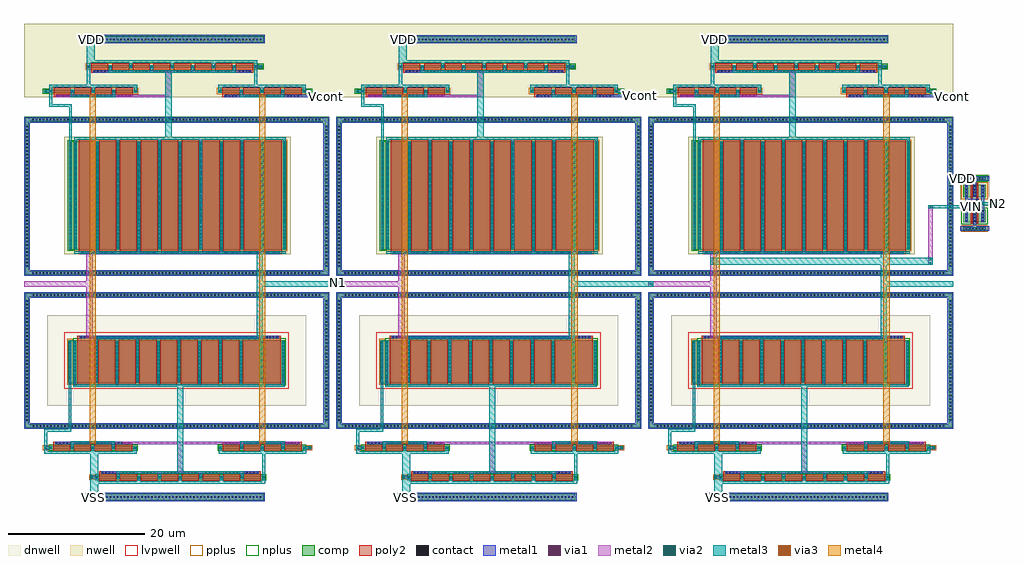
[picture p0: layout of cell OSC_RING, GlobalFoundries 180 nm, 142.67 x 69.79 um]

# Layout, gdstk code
from math import pi, radians
import gdstk
lib = gdstk.Library(unit=1e-6, precision=5e-09)
def R(c, l, rs):  # rectangles x0, y0, x1, y1
    for r in rs: c.add(gdstk.rectangle(r[:2], r[2:], *l))
def A(c, l, x, y, w, h, nx, ny, dx, dy):  # array of equal rectangles
    R(c, l, [(x+i*dx, y+j*dy, x+i*dx+w, y+j*dy+h) for i in range(nx) for j in range(ny)])
def P(c, l, *ps):  # polygons
    for p in ps: c.add(gdstk.Polygon(p, *l))
dnwell = (12, 0)
nwell = (21, 0)
comp = (22, 0)
poly2 = (30, 0)
pplus = (31, 0)
nplus = (32, 0)
contact = (33, 0)
metal1 = (34, 0)
via1 = (35, 0)
metal2 = (36, 0)
via2 = (38, 0)
via3 = (40, 0)
metal3 = (42, 0)
metal4 = (46, 0)
lvpwell = (204, 0)

nfet_2 = lib.new_cell('nfet$2')
R(nfet_2, comp, [(-0.42,-0.01,0,0.43), (11.94,-0.01,12.36,0.43), (12.36,-0.01,13.07,0.43), (0,0,11.94,0.42)])
A(nfet_2, poly2, 0.19, -0.3, 2.5, 1.02, 4, 1, 3.02, 0)
A(nfet_2, poly2, 0.19, 0.72, 2.5, 0.36, 4, 1, 3.02, 0)
R(nfet_2, pplus, [(12.36,-0.17,13.24,0.59)])
R(nfet_2, nplus, [(-0.59,-0.25,12.36,0.67)])
A(nfet_2, contact, 2.84, 0.1, 0.22, 0.22, 3, 1, 3.02, 0)
A(nfet_2, contact, 0.565, 0.79, 0.22, 0.22, 4, 1, 0.51, 0)
A(nfet_2, contact, 3.585, 0.79, 0.22, 0.22, 4, 1, 0.51, 0)
A(nfet_2, contact, 6.605, 0.79, 0.22, 0.22, 4, 1, 0.51, 0)
A(nfet_2, contact, 9.625, 0.79, 0.22, 0.22, 4, 1, 0.51, 0)
R(nfet_2, contact, [(-0.32,0.1,-0.1,0.32), (12.04,0.1,12.26,0.32), (12.75,0.1,12.97,0.32)])
A(nfet_2, metal1, 2.76, 0.02, 0.38, 0.38, 3, 1, 3.02, 0)
A(nfet_2, metal1, 0.485, 0.71, 1.91, 0.38, 4, 1, 3.02, 0)
R(nfet_2, metal1, [(-0.4,0.02,-0.02,0.4), (11.96,0.02,12.34,0.4), (12.67,0.02,13.05,0.4)])

pfet_6 = lib.new_cell('pfet$6')
R(pfet_6, nwell, [(-1.16,-0.71,13.83,1.13)])
R(pfet_6, comp, [(-0.46,-0.01,0,0.43), (11.94,-0.01,12.4,0.43), (12.4,-0.01,13.13,0.43), (0,0,11.94,0.42)])
A(pfet_6, poly2, 0.19, -0.3, 2.5, 1.02, 4, 1, 3.02, 0)
A(pfet_6, poly2, 0.19, 0.72, 2.5, 0.38, 4, 1, 3.02, 0)
R(pfet_6, pplus, [(-0.63,-0.25,12.4,0.67)])
R(pfet_6, nplus, [(12.4,-0.17,13.3,0.59)])
A(pfet_6, contact, 2.84, 0.1, 0.22, 0.22, 3, 1, 3.02, 0)
A(pfet_6, contact, 0.565, 0.8, 0.22, 0.22, 4, 1, 0.51, 0)
A(pfet_6, contact, 3.585, 0.8, 0.22, 0.22, 4, 1, 0.51, 0)
A(pfet_6, contact, 6.605, 0.8, 0.22, 0.22, 4, 1, 0.51, 0)
A(pfet_6, contact, 9.625, 0.8, 0.22, 0.22, 4, 1, 0.51, 0)
R(pfet_6, contact, [(-0.34,0.1,-0.12,0.32), (12.06,0.1,12.28,0.32), (12.79,0.1,13.01,0.32)])
A(pfet_6, metal1, 2.76, 0.02, 0.38, 0.38, 3, 1, 3.02, 0)
A(pfet_6, metal1, 0.485, 0.72, 1.91, 0.38, 4, 1, 3.02, 0)
R(pfet_6, metal1, [(-0.42,0.02,-0.04,0.4), (11.98,0.02,12.36,0.4), (12.71,0.02,13.09,0.4)])

pfet_7 = lib.new_cell('pfet$7')
R(pfet_7, nwell, [(-1.16,-0.71,13.83,1.13)])
R(pfet_7, comp, [(-0.46,-0.01,0,0.43), (11.94,-0.01,12.4,0.43), (12.4,-0.01,13.13,0.43), (0,0,11.94,0.42)])
A(pfet_7, poly2, 0.19, -0.3, 2.5, 1.02, 4, 1, 3.02, 0)
A(pfet_7, poly2, 0.19, 0.72, 2.5, 0.38, 4, 1, 3.02, 0)
R(pfet_7, pplus, [(-0.63,-0.25,12.4,0.67)])
R(pfet_7, nplus, [(12.4,-0.17,13.3,0.59)])
A(pfet_7, contact, 2.84, 0.1, 0.22, 0.22, 3, 1, 3.02, 0)
A(pfet_7, contact, 0.565, 0.8, 0.22, 0.22, 4, 1, 0.51, 0)
A(pfet_7, contact, 3.585, 0.8, 0.22, 0.22, 4, 1, 0.51, 0)
A(pfet_7, contact, 6.605, 0.8, 0.22, 0.22, 4, 1, 0.51, 0)
A(pfet_7, contact, 9.625, 0.8, 0.22, 0.22, 4, 1, 0.51, 0)
R(pfet_7, contact, [(-0.34,0.1,-0.12,0.32), (12.06,0.1,12.28,0.32), (12.79,0.1,13.01,0.32)])
A(pfet_7, metal1, 2.76, 0.02, 0.38, 0.38, 3, 1, 3.02, 0)
A(pfet_7, metal1, 0.485, 0.72, 1.91, 0.38, 4, 1, 3.02, 0)
R(pfet_7, metal1, [(-0.42,0.02,-0.04,0.4), (11.98,0.02,12.36,0.4), (12.71,0.02,13.09,0.4)])

pfet = lib.new_cell('pfet')
R(pfet, nwell, [(-1.16,-0.71,25.91,1.13)])
R(pfet, comp, [(-0.46,-0.01,0,0.43), (24.02,-0.01,24.48,0.43), (24.48,-0.01,25.21,0.43), (0,0,24.02,0.42)])
A(pfet, poly2, 0.19, -0.3, 2.5, 1.02, 8, 1, 3.02, 0)
A(pfet, poly2, 0.19, 0.72, 2.5, 0.38, 8, 1, 3.02, 0)
R(pfet, pplus, [(-0.63,-0.25,24.48,0.67)])
R(pfet, nplus, [(24.48,-0.17,25.38,0.59)])
A(pfet, contact, 2.84, 0.1, 0.22, 0.22, 7, 1, 3.02, 0)
A(pfet, contact, 0.565, 0.8, 0.22, 0.22, 4, 1, 0.51, 0)
A(pfet, contact, 3.585, 0.8, 0.22, 0.22, 4, 1, 0.51, 0)
A(pfet, contact, 6.605, 0.8, 0.22, 0.22, 4, 1, 0.51, 0)
A(pfet, contact, 9.625, 0.8, 0.22, 0.22, 4, 1, 0.51, 0)
A(pfet, contact, 12.645, 0.8, 0.22, 0.22, 4, 1, 0.51, 0)
A(pfet, contact, 15.665, 0.8, 0.22, 0.22, 4, 1, 0.51, 0)
A(pfet, contact, 18.685, 0.8, 0.22, 0.22, 4, 1, 0.51, 0)
A(pfet, contact, 21.705, 0.8, 0.22, 0.22, 4, 1, 0.51, 0)
R(pfet, contact, [(-0.34,0.1,-0.12,0.32), (24.14,0.1,24.36,0.32), (24.87,0.1,25.09,0.32)])
A(pfet, metal1, 2.76, 0.02, 0.38, 0.38, 7, 1, 3.02, 0)
A(pfet, metal1, 0.485, 0.72, 1.91, 0.38, 8, 1, 3.02, 0)
R(pfet, metal1, [(-0.42,0.02,-0.04,0.4), (24.06,0.02,24.44,0.4), (24.79,0.02,25.17,0.4)])

nfet_1 = lib.new_cell('nfet$1')
R(nfet_1, comp, [(-0.42,-0.01,0,0.43), (24.02,-0.01,24.44,0.43), (24.44,-0.01,25.15,0.43), (0,0,24.02,0.42)])
A(nfet_1, poly2, 0.19, -0.3, 2.5, 1.02, 8, 1, 3.02, 0)
A(nfet_1, poly2, 0.19, 0.72, 2.5, 0.36, 8, 1, 3.02, 0)
R(nfet_1, pplus, [(24.44,-0.17,25.32,0.59)])
R(nfet_1, nplus, [(-0.59,-0.25,24.44,0.67)])
A(nfet_1, contact, 2.84, 0.1, 0.22, 0.22, 7, 1, 3.02, 0)
A(nfet_1, contact, 0.565, 0.79, 0.22, 0.22, 4, 1, 0.51, 0)
A(nfet_1, contact, 3.585, 0.79, 0.22, 0.22, 4, 1, 0.51, 0)
A(nfet_1, contact, 6.605, 0.79, 0.22, 0.22, 4, 1, 0.51, 0)
A(nfet_1, contact, 9.625, 0.79, 0.22, 0.22, 4, 1, 0.51, 0)
A(nfet_1, contact, 12.645, 0.79, 0.22, 0.22, 4, 1, 0.51, 0)
A(nfet_1, contact, 15.665, 0.79, 0.22, 0.22, 4, 1, 0.51, 0)
A(nfet_1, contact, 18.685, 0.79, 0.22, 0.22, 4, 1, 0.51, 0)
A(nfet_1, contact, 21.705, 0.79, 0.22, 0.22, 4, 1, 0.51, 0)
R(nfet_1, contact, [(-0.32,0.1,-0.1,0.32), (24.12,0.1,24.34,0.32), (24.83,0.1,25.05,0.32)])
A(nfet_1, metal1, 2.76, 0.02, 0.38, 0.38, 7, 1, 3.02, 0)
A(nfet_1, metal1, 0.485, 0.71, 1.91, 0.38, 8, 1, 3.02, 0)
R(nfet_1, metal1, [(-0.4,0.02,-0.02,0.4), (24.04,0.02,24.42,0.4), (24.75,0.02,25.13,0.4)])

nfet_10 = lib.new_cell('nfet$10')
R(nfet_10, dnwell, [(-3.55,-3.26,34.32,9.96)])
R(nfet_10, comp, [(-0.42,0,0,6.33), (0,0,30.06,6.33), (30.06,0,30.48,6.33), (30.48,0,31.19,6.33)])
P(nfet_10, comp, [(-6.75,-6.46),(-6.75,12.66),(-6.25,12.66),(-6.25,-5.96),(37.02,-5.96),(37.02,12.66),(-6.75,12.66),(-6.75,13.16),(37.52,13.16),(37.52,-6.46)])
A(nfet_10, poly2, 0.19, -0.3, 2.5, 6.93, 10, 1, 3.02, 0)
A(nfet_10, poly2, 0.19, 6.63, 2.5, 0.36, 10, 1, 3.02, 0)
R(nfet_10, pplus, [(30.48,-0.17,31.36,6.5)])
P(nfet_10, pplus, [(-6.92,-6.63),(-6.92,12.49),(-6.08,12.49),(-6.08,-5.79),(36.85,-5.79),(36.85,12.49),(-6.92,12.49),(-6.92,13.33),(37.69,13.33),(37.69,-6.63)])
R(nfet_10, nplus, [(-0.59,-0.24,30.48,6.57)])
A(nfet_10, contact, -5.635, -6.32, 0.22, 0.22, 83, 2, 0.51, 19.12)
A(nfet_10, contact, -6.61, -5.43, 0.22, 0.22, 1, 35, 0, 0.51)
A(nfet_10, contact, 37.16, -5.43, 0.22, 0.22, 1, 35, 0, 0.51)
A(nfet_10, contact, -0.32, 0.25, 0.22, 0.22, 1, 12, 0, 0.51)
A(nfet_10, contact, 2.84, 0.25, 0.22, 0.22, 9, 12, 3.02, 0.51)
A(nfet_10, contact, 30.16, 0.25, 0.22, 0.22, 1, 12, 0, 0.51)
A(nfet_10, contact, 30.87, 0.25, 0.22, 0.22, 1, 12, 0, 0.51)
A(nfet_10, contact, 0.565, 6.7, 0.22, 0.22, 4, 1, 0.51, 0)
A(nfet_10, contact, 3.585, 6.7, 0.22, 0.22, 4, 1, 0.51, 0)
A(nfet_10, contact, 6.605, 6.7, 0.22, 0.22, 4, 1, 0.51, 0)
A(nfet_10, contact, 9.625, 6.7, 0.22, 0.22, 4, 1, 0.51, 0)
A(nfet_10, contact, 12.645, 6.7, 0.22, 0.22, 4, 1, 0.51, 0)
A(nfet_10, contact, 15.665, 6.7, 0.22, 0.22, 4, 1, 0.51, 0)
A(nfet_10, contact, 18.685, 6.7, 0.22, 0.22, 4, 1, 0.51, 0)
A(nfet_10, contact, 21.705, 6.7, 0.22, 0.22, 4, 1, 0.51, 0)
A(nfet_10, contact, 24.725, 6.7, 0.22, 0.22, 4, 1, 0.51, 0)
A(nfet_10, contact, 27.745, 6.7, 0.22, 0.22, 4, 1, 0.51, 0)
A(nfet_10, metal1, 2.76, 0.17, 0.38, 5.99, 9, 1, 3.02, 0)
A(nfet_10, metal1, 0.485, 6.62, 1.91, 0.38, 10, 1, 3.02, 0)
R(nfet_10, metal1, [(-0.4,0.17,-0.02,6.16), (30.08,0.17,30.46,6.16), (30.79,0.17,31.17,6.16)])
R(nfet_10, lvpwell, [(-1.04,-0.75,31.81,7.45)])

nfet = lib.new_cell('nfet')
R(nfet, comp, [(-0.42,-0.01,0,0.43), (11.94,-0.01,12.36,0.43), (12.36,-0.01,13.07,0.43), (0,0,11.94,0.42)])
A(nfet, poly2, 0.19, -0.3, 2.5, 1.02, 4, 1, 3.02, 0)
A(nfet, poly2, 0.19, 0.72, 2.5, 0.36, 4, 1, 3.02, 0)
R(nfet, pplus, [(12.36,-0.17,13.24,0.59)])
R(nfet, nplus, [(-0.59,-0.25,12.36,0.67)])
A(nfet, contact, 2.84, 0.1, 0.22, 0.22, 3, 1, 3.02, 0)
A(nfet, contact, 0.565, 0.79, 0.22, 0.22, 4, 1, 0.51, 0)
A(nfet, contact, 3.585, 0.79, 0.22, 0.22, 4, 1, 0.51, 0)
A(nfet, contact, 6.605, 0.79, 0.22, 0.22, 4, 1, 0.51, 0)
A(nfet, contact, 9.625, 0.79, 0.22, 0.22, 4, 1, 0.51, 0)
R(nfet, contact, [(-0.32,0.1,-0.1,0.32), (12.04,0.1,12.26,0.32), (12.75,0.1,12.97,0.32)])
A(nfet, metal1, 2.76, 0.02, 0.38, 0.38, 3, 1, 3.02, 0)
A(nfet, metal1, 0.485, 0.71, 1.91, 0.38, 4, 1, 3.02, 0)
R(nfet, metal1, [(-0.4,0.02,-0.02,0.4), (11.96,0.02,12.34,0.4), (12.67,0.02,13.05,0.4)])

pfet_4 = lib.new_cell('pfet$4')
R(pfet_4, nwell, [(-1.15,-0.69,31.94,16.515)])
R(pfet_4, comp, [(-0.46,0,0,15.825), (0,0,30.06,15.825), (30.06,0,30.52,15.825), (30.52,0,31.25,15.825)])
A(pfet_4, poly2, 0.19, -0.68, 2.5, 0.38, 10, 1, 3.02, 0)
A(pfet_4, poly2, 0.19, -0.3, 2.5, 16.425, 10, 1, 3.02, 0)
R(pfet_4, pplus, [(-0.63,-0.24,30.52,16.065)])
R(pfet_4, nplus, [(30.52,-0.17,31.42,15.995)])
A(pfet_4, contact, 0.565, -0.6, 0.22, 0.22, 4, 1, 0.51, 0)
A(pfet_4, contact, 3.585, -0.6, 0.22, 0.22, 4, 1, 0.51, 0)
A(pfet_4, contact, 6.605, -0.6, 0.22, 0.22, 4, 1, 0.51, 0)
A(pfet_4, contact, 9.625, -0.6, 0.22, 0.22, 4, 1, 0.51, 0)
A(pfet_4, contact, 12.645, -0.6, 0.22, 0.22, 4, 1, 0.51, 0)
A(pfet_4, contact, 15.665, -0.6, 0.22, 0.22, 4, 1, 0.51, 0)
A(pfet_4, contact, 18.685, -0.6, 0.22, 0.22, 4, 1, 0.51, 0)
A(pfet_4, contact, 21.705, -0.6, 0.22, 0.22, 4, 1, 0.51, 0)
A(pfet_4, contact, 24.725, -0.6, 0.22, 0.22, 4, 1, 0.51, 0)
A(pfet_4, contact, 27.745, -0.6, 0.22, 0.22, 4, 1, 0.51, 0)
A(pfet_4, contact, -0.34, 0.155, 0.22, 0.22, 1, 31, 0, 0.51)
A(pfet_4, contact, 2.84, 0.155, 0.22, 0.22, 9, 31, 3.02, 0.51)
A(pfet_4, contact, 30.18, 0.155, 0.22, 0.22, 1, 31, 0, 0.51)
A(pfet_4, contact, 30.91, 0.155, 0.22, 0.22, 1, 31, 0, 0.51)
A(pfet_4, metal1, 0.485, -0.68, 1.91, 0.38, 10, 1, 3.02, 0)
A(pfet_4, metal1, 2.76, 0.075, 0.38, 15.68, 9, 1, 3.02, 0)
R(pfet_4, metal1, [(-0.42,0.075,-0.04,15.755), (30.1,0.075,30.48,15.755), (30.83,0.075,31.21,15.755)])

osc_inv = lib.new_cell('OSC_INV')
R(osc_inv, nwell, [(0,-306.74,44.61,-295.98)])
R(osc_inv, comp, [(0.17,-332.67,43.93,-332.17), (43.93,-332.67,44.43,-310.23), (0.17,-332.17,0.67,-310.23), (0.17,-310.23,44.43,-309.73)])
R(osc_inv, nplus, [(0,-332.83,43.77,-331.99), (43.77,-332.83,44.61,-310.41), (0,-331.99,0.84,-310.41), (0,-310.41,44.61,-309.57)])
A(osc_inv, contact, 1.33, -332.53, 0.22, 0.22, 83, 2, 0.51, 22.44)
A(osc_inv, contact, 0.31, -331.51, 0.22, 0.22, 1, 41, 0, 0.51)
A(osc_inv, contact, 44.07, -331.51, 0.22, 0.22, 1, 41, 0, 0.51)
R(osc_inv, metal1, [(12.175,-361.78,32.925,-361.4), (5.465,-357.44,14.765,-357.06), (29.53,-357.44,38.675,-357.06), (0,-355.18,43.77,-354.34), (43.77,-355.18,44.61,-336.06), (0,-354.34,0.84,-336.06), (9.315,-341.93,34.75,-341.55), (0,-336.06,44.61,-335.22), (0,-332.83,43.77,-331.99), (43.77,-332.83,44.61,-310.46), (0,-331.99,0.84,-310.46), (9.165,-329.67,35.66,-329.29), (0,-310.46,44.61,-309.62), (0,-306.71,4.335,-306.33), (6.245,-306.71,14.06,-306.33), (29.56,-306.71,38.085,-306.33), (13.33,-303.12,33.65,-302.74)])
A(osc_inv, via1, 12.6, -362.41, 0.26, 0.26, 7, 1, 3.02, 0)
A(osc_inv, via1, 6.61, -358.07, 0.26, 0.26, 3, 1, 3.02, 0)
A(osc_inv, via1, 31.42, -358.07, 0.26, 0.26, 3, 1, 3.02, 0)
A(osc_inv, via1, 6.58, -347.92, 0.26, 0.26, 1, 11, 0, 0.52)
A(osc_inv, via1, 9.74, -347.92, 0.26, 0.26, 9, 11, 3.02, 0.52)
A(osc_inv, via1, 37.06, -347.92, 0.26, 0.26, 1, 11, 0, 0.52)
A(osc_inv, via1, 37.77, -347.92, 0.26, 0.26, 1, 11, 0, 0.52)
A(osc_inv, via1, 6.41, -328.85, 0.26, 0.26, 1, 30, 0, 0.52)
A(osc_inv, via1, 9.59, -328.85, 0.26, 0.26, 9, 30, 3.02, 0.52)
A(osc_inv, via1, 36.93, -328.85, 0.26, 0.26, 1, 30, 0, 0.52)
A(osc_inv, via1, 37.66, -328.85, 0.26, 0.26, 1, 30, 0, 0.52)
A(osc_inv, via1, 6.67, -305.95, 0.26, 0.26, 3, 1, 3.02, 0)
A(osc_inv, via1, 31.36, -305.95, 0.26, 0.26, 3, 1, 3.02, 0)
A(osc_inv, via1, 13.755, -302.36, 0.26, 0.26, 7, 1, 3.02, 0)
R(osc_inv, via1, [(9.44,-362.41,9.7,-362.15), (33.88,-362.41,34.14,-362.15), (34.59,-362.41,34.85,-362.15), (21.395,-361.72,21.655,-361.46), (21.915,-361.72,22.175,-361.46), (2.74,-358.07,3,-357.81), (3.45,-358.07,3.71,-357.81), (15.81,-358.07,16.07,-357.81), (28.26,-358.07,28.52,-357.81), (40.62,-358.07,40.88,-357.81), (41.33,-358.07,41.59,-357.81), (5.035,-357.38,5.295,-357.12), (5.555,-357.38,5.815,-357.12), (5.555,-357.38,5.815,-357.12), (5.555,-357.38,5.815,-357.12), (6.075,-357.38,6.335,-357.12), (6.075,-357.38,6.335,-357.12), (6.075,-357.38,6.335,-357.12), (6.595,-357.38,6.855,-357.12), (6.595,-357.38,6.855,-357.12), (6.595,-357.38,6.855,-357.12), (7.115,-357.38,7.375,-357.12), (7.115,-357.38,7.375,-357.12), (7.115,-357.38,7.375,-357.12), (7.635,-357.38,7.895,-357.12), (7.635,-357.38,7.895,-357.12), (7.635,-357.38,7.895,-357.12), (8.155,-357.38,8.415,-357.12), (8.155,-357.38,8.415,-357.12), (8.155,-357.38,8.415,-357.12), (8.675,-357.38,8.935,-357.12), (8.675,-357.38,8.935,-357.12), (8.675,-357.38,8.935,-357.12), (9.195,-357.38,9.455,-357.12), (9.195,-357.38,9.455,-357.12), (9.195,-357.38,9.455,-357.12), (9.715,-357.38,9.975,-357.12), (9.715,-357.38,9.975,-357.12), (9.715,-357.38,9.975,-357.12), (10.235,-357.38,10.495,-357.12), (10.235,-357.38,10.495,-357.12), (10.755,-357.38,11.015,-357.12), (10.755,-357.38,11.015,-357.12), (11.275,-357.38,11.535,-357.12), (11.275,-357.38,11.535,-357.12), (11.795,-357.38,12.055,-357.12), (11.795,-357.38,12.055,-357.12), (12.315,-357.38,12.575,-357.12), (12.315,-357.38,12.575,-357.12), (12.835,-357.38,13.095,-357.12), (12.835,-357.38,13.095,-357.12), (13.355,-357.38,13.615,-357.12), (13.355,-357.38,13.615,-357.12), (13.875,-357.38,14.135,-357.12), (13.875,-357.38,14.135,-357.12), (14.395,-357.38,14.655,-357.12), (14.395,-357.38,14.655,-357.12), (14.915,-357.38,15.175,-357.12), (29.155,-357.38,29.415,-357.12), (29.675,-357.38,29.935,-357.12), (37.76,-354.91,38.02,-354.65), (34.64,-341.87,34.9,-341.61), (35.16,-341.87,35.42,-341.61), (34.64,-329.61,34.9,-329.35), (35.16,-329.61,35.42,-329.35), (37.66,-310.13,37.92,-309.87), (29.075,-306.65,29.335,-306.39), (29.595,-306.65,29.855,-306.39), (29.595,-306.65,29.855,-306.39), (30.115,-306.65,30.375,-306.39), (30.115,-306.65,30.375,-306.39), (30.635,-306.65,30.895,-306.39), (30.635,-306.65,30.895,-306.39), (31.155,-306.65,31.415,-306.39), (31.155,-306.65,31.415,-306.39), (31.675,-306.65,31.935,-306.39), (31.675,-306.65,31.935,-306.39), (32.195,-306.65,32.455,-306.39), (32.195,-306.65,32.455,-306.39), (32.715,-306.65,32.975,-306.39), (32.715,-306.65,32.975,-306.39), (33.235,-306.65,33.495,-306.39), (33.235,-306.65,33.495,-306.39), (33.755,-306.65,34.015,-306.39), (33.755,-306.65,34.015,-306.39), (34.275,-306.65,34.535,-306.39), (34.275,-306.65,34.535,-306.39), (34.795,-306.65,35.055,-306.39), (34.795,-306.65,35.055,-306.39), (35.315,-306.65,35.575,-306.39), (35.315,-306.65,35.575,-306.39), (35.835,-306.65,36.095,-306.39), (35.835,-306.65,36.095,-306.39), (36.355,-306.65,36.615,-306.39), (36.355,-306.65,36.615,-306.39), (36.875,-306.65,37.135,-306.39), (36.875,-306.65,37.135,-306.39), (37.395,-306.65,37.655,-306.39), (37.395,-306.65,37.655,-306.39), (37.915,-306.65,38.175,-306.39), (37.915,-306.65,38.175,-306.39), (38.435,-306.65,38.695,-306.39), (38.435,-306.65,38.695,-306.39), (38.955,-306.65,39.215,-306.39), (38.955,-306.65,39.215,-306.39), (39.475,-306.65,39.735,-306.39), (2.76,-305.95,3.02,-305.69), (3.49,-305.95,3.75,-305.69), (15.89,-305.95,16.15,-305.69), (28.18,-305.95,28.44,-305.69), (40.58,-305.95,40.84,-305.69), (41.31,-305.95,41.57,-305.69), (23.105,-303.06,23.365,-302.8), (23.625,-303.06,23.885,-302.8), (9.845,-302.36,10.105,-302.1), (10.575,-302.36,10.835,-302.1), (35.055,-302.36,35.315,-302.1)])
A(osc_inv, metal2, 12.5, -362.505, 0.45, 0.45, 3, 1, 3.02, 0)
A(osc_inv, metal2, 24.58, -362.505, 0.45, 0.45, 3, 1, 3.02, 0)
A(osc_inv, metal2, 6.52, -358.165, 0.45, 0.415, 3, 1, 3.02, 0)
A(osc_inv, metal2, 31.32, -358.165, 0.45, 0.45, 3, 1, 3.02, 0)
A(osc_inv, metal2, 12.7, -348.69, 0.38, 6.3, 4, 1, 6.04, 0)
A(osc_inv, metal2, 9.68, -348.38, 0.38, 6.3, 5, 1, 6.04, 0)
A(osc_inv, metal2, 9.53, -329.225, 0.38, 15.99, 5, 1, 6.04, 0)
A(osc_inv, metal2, 12.55, -328.915, 0.38, 15.995, 4, 1, 6.04, 0)
A(osc_inv, metal2, 6.58, -306.045, 0.45, 0.45, 3, 1, 3.02, 0)
A(osc_inv, metal2, 31.26, -306.045, 0.45, 0.45, 3, 1, 3.02, 0)
A(osc_inv, metal2, 13.665, -302.455, 0.45, 0.45, 7, 1, 3.02, 0)
R(osc_inv, metal2, [(9.34,-362.505,9.79,-362.055), (21.56,-362.505,22.01,-362.09), (33.78,-362.505,34.23,-362.055), (34.23,-362.505,34.94,-362.055), (21.335,-361.78,22.235,-357.06), (2.65,-358.165,3.36,-357.715), (3.36,-358.165,3.81,-357.715), (15.72,-358.165,16.17,-357.75), (28.16,-358.165,28.61,-357.75), (40.52,-358.165,41.23,-357.715), (41.23,-358.165,41.68,-357.715), (4.27,-357.44,21.335,-357.06), (22.235,-357.44,30.205,-357.06), (37.69,-355.18,38.09,-354.34), (6.52,-348.69,6.9,-342.39), (37,-348.69,37.38,-342.39), (37.71,-348.69,38.09,-342.39), (34.58,-341.93,35.48,-329.29), (35.48,-334.39,40.84,-333.63), (40.84,-334.39,43.85,-333.63), (43.85,-334.39,44.61,-333.63), (6.35,-328.92,6.73,-312.92), (37.6,-328.915,37.98,-313.235), (36.87,-328.91,37.25,-312.92), (37.6,-310.46,37.98,-309.62), (23.045,-306.71,23.945,-302.74), (23.945,-306.71,39.995,-306.33), (2.67,-306.045,3.4,-305.595), (3.4,-306.045,3.85,-305.595), (15.8,-306.045,16.25,-305.595), (28.08,-306.045,28.53,-305.595), (40.48,-306.045,40.93,-305.595), (40.93,-306.045,41.66,-305.595), (9.755,-302.455,10.205,-302.005), (10.485,-302.455,10.935,-302.005), (34.965,-302.455,35.415,-302.005)])
A(osc_inv, via2, 12.6, -362.41, 0.26, 0.26, 7, 1, 3.02, 0)
A(osc_inv, via2, 6.61, -358.07, 0.26, 0.26, 3, 1, 3.02, 0)
A(osc_inv, via2, 31.42, -358.07, 0.26, 0.26, 3, 1, 3.02, 0)
A(osc_inv, via2, 6.58, -347.92, 0.26, 0.26, 1, 11, 0, 0.52)
A(osc_inv, via2, 9.74, -347.92, 0.26, 0.26, 9, 11, 3.02, 0.52)
A(osc_inv, via2, 37.06, -347.92, 0.26, 0.26, 1, 11, 0, 0.52)
A(osc_inv, via2, 37.77, -347.92, 0.26, 0.26, 1, 11, 0, 0.52)
A(osc_inv, via2, 6.41, -328.85, 0.26, 0.26, 1, 30, 0, 0.52)
A(osc_inv, via2, 9.59, -328.85, 0.26, 0.26, 9, 30, 3.02, 0.52)
A(osc_inv, via2, 36.93, -328.85, 0.26, 0.26, 1, 30, 0, 0.52)
A(osc_inv, via2, 37.66, -328.85, 0.26, 0.26, 1, 30, 0, 0.52)
A(osc_inv, via2, 6.67, -305.95, 0.26, 0.26, 3, 1, 3.02, 0)
A(osc_inv, via2, 31.36, -305.95, 0.26, 0.26, 3, 1, 3.02, 0)
A(osc_inv, via2, 13.75, -302.36, 0.26, 0.26, 7, 1, 3.02, 0)
R(osc_inv, via2, [(9.44,-362.41,9.7,-362.15), (33.88,-362.41,34.14,-362.15), (34.59,-362.41,34.85,-362.15), (2.74,-358.07,3,-357.81), (3.45,-358.07,3.71,-357.81), (15.81,-358.07,16.07,-357.81), (28.26,-358.07,28.52,-357.81), (40.62,-358.07,40.88,-357.81), (41.33,-358.07,41.59,-357.81), (9.37,-357.38,9.63,-357.12), (9.89,-357.38,10.15,-357.12), (37.76,-354.91,38.02,-354.65), (6.41,-328.85,6.67,-328.59), (37.66,-310.13,37.92,-309.87), (34.175,-306.675,34.435,-306.415), (34.695,-306.675,34.955,-306.415), (2.76,-305.95,3.02,-305.69), (3.49,-305.95,3.75,-305.69), (15.89,-305.95,16.15,-305.69), (15.89,-305.95,16.15,-305.69), (28.18,-305.95,28.44,-305.69), (40.58,-305.95,40.84,-305.69), (41.31,-305.95,41.57,-305.69), (9.84,-302.36,10.1,-302.1), (10.57,-302.36,10.83,-302.1), (35.05,-302.36,35.31,-302.1)])
R(osc_inv, via3, [(9.37,-357.35,9.63,-357.09), (9.89,-357.35,10.15,-357.09), (34.175,-357.345,34.435,-357.085), (34.695,-357.345,34.955,-357.085), (34.175,-306.675,34.435,-306.415), (34.695,-306.675,34.955,-306.415), (9.37,-306.67,9.63,-306.41), (9.89,-306.67,10.15,-306.41)])
A(osc_inv, metal3, 15.52, -362.815, 0.45, 0.76, 3, 1, 6.04, 0)
A(osc_inv, metal3, 12.5, -362.505, 0.45, 0.76, 4, 1, 6.04, 0)
A(osc_inv, metal3, 12.7, -348.69, 0.38, 6.3, 4, 1, 6.04, 0)
A(osc_inv, metal3, 9.68, -348.38, 0.38, 6.3, 5, 1, 6.04, 0)
A(osc_inv, metal3, 9.53, -329.225, 0.38, 15.99, 5, 1, 6.04, 0)
A(osc_inv, metal3, 12.55, -328.915, 0.38, 15.995, 4, 1, 6.04, 0)
A(osc_inv, metal3, 3.4, -306.045, 0.45, 0.76, 3, 1, 6.2, 0)
A(osc_inv, metal3, 28.08, -306.045, 0.45, 0.76, 3, 1, 6.2, 0)
A(osc_inv, metal3, 13.66, -302.765, 0.45, 0.76, 4, 1, 6.04, 0)
A(osc_inv, metal3, 16.68, -302.455, 0.45, 0.76, 3, 1, 6.04, 0)
R(osc_inv, metal3, [(9.34,-363.2,34.94,-362.815), (9.34,-362.815,9.79,-362.055), (33.78,-362.815,34.23,-362.055), (34.23,-362.815,34.94,-362.055), (9.34,-362.055,9.79,-358.855), (33.78,-362.055,34.94,-358.855), (12.5,-361.745,31.07,-361.365), (21.335,-361.365,22.235,-349.07), (3.36,-358.855,16.17,-358.475), (28.16,-358.855,41.68,-358.475), (3.36,-358.475,3.81,-357.715), (9.54,-358.475,9.99,-357.715), (15.72,-358.475,16.17,-357.75), (28.16,-358.475,28.61,-357.75), (34.34,-358.475,34.79,-357.715), (41.23,-358.475,41.68,-357.715), (2.65,-358.165,3.36,-357.715), (6.52,-358.165,6.97,-357.405), (12.56,-358.165,13.01,-357.405), (31.32,-358.165,31.77,-357.405), (37.36,-358.165,37.81,-357.405), (40.52,-358.165,41.23,-357.715), (41.23,-357.715,41.68,-355.58), (6.52,-357.405,13.01,-357.025), (31.32,-357.405,37.81,-357.025), (37.69,-355.58,41.68,-355.18), (37.69,-355.18,38.09,-348.69), (6.52,-349.07,37.38,-348.69), (6.52,-348.69,6.9,-342.39), (37,-348.69,37.38,-342.39), (37.69,-348.69,38.09,-342.39), (9.68,-342.08,34.22,-341.7), (9.68,-341.7,10.58,-329.61), (0,-334.39,9.68,-333.63), (6.36,-329.61,37.26,-329.225), (6.35,-328.92,6.73,-312.92), (37.6,-328.915,37.98,-313.235), (36.87,-328.91,37.25,-312.92), (37.6,-313.235,37.98,-308.13), (6.35,-312.92,37.25,-312.54), (23.045,-312.54,23.945,-303.145), (37.6,-308.13,40.93,-307.75), (40.48,-307.75,40.93,-306.045), (6.58,-306.745,13.07,-306.355), (31.26,-306.735,37.75,-306.355), (6.58,-306.355,7.03,-305.595), (12.62,-306.355,13.07,-305.595), (31.26,-306.355,31.71,-305.595), (37.3,-306.355,37.75,-305.595), (2.67,-306.045,3.4,-305.595), (40.93,-306.045,41.66,-305.595), (3.4,-305.285,16.25,-304.905), (28.08,-305.285,40.93,-304.905), (10.48,-304.905,10.93,-302.455), (34.96,-304.905,35.41,-302.455), (13.66,-303.145,32.23,-302.765), (9.75,-302.455,10.48,-302.005), (10.48,-302.455,10.93,-301.695), (34.96,-302.455,35.41,-301.695), (10.48,-301.695,35.41,-301.315)])
R(osc_inv, metal4, [(9.31,-357.405,10.21,-306.355), (34.115,-357.405,35.015,-306.355)])
osc_inv.add(gdstk.Reference(nfet_2, (28.6,-358.15)))
osc_inv.add(gdstk.Reference(pfet_6, (28.54,-305.61), x_reflection=True))
osc_inv.add(gdstk.Reference(pfet_7, (15.79,-305.61), rotation=pi))
osc_inv.add(gdstk.Reference(pfet, (34.955,-302.02), rotation=pi))
osc_inv.add(gdstk.Reference(nfet_1, (9.78,-362.49)))
osc_inv.add(gdstk.Reference(nfet_10, (6.92,-348.55)))
osc_inv.add(gdstk.Reference(nfet, (15.73,-358.15), rotation=pi, x_reflection=True))
osc_inv.add(gdstk.Reference(pfet_4, (6.77,-328.99)))
osc_inv.add(gdstk.Label('Vcont', (0.32,-306.56), layer=34, texttype=10))
osc_inv.add(gdstk.Label('VOUT', (0.2,-333.9), layer=42, texttype=10))
osc_inv.add(gdstk.Label('VDD', (35.14,-301.48), layer=42, texttype=10))
osc_inv.add(gdstk.Label('VSS', (34.94,-363.01), layer=42, texttype=10))
osc_inv.add(gdstk.Label('VIN', (44.45,-333.74), layer=36, texttype=10))

buff = lib.new_cell('BUFF')
R(buff, nwell, [(-0.5,3.58,3.78,8.16)])
R(buff, comp, [(0,0.16,3.28,0.52), (0,1.22,3.28,3.09), (0,4.89,3.28,6.76), (0,7.46,3.28,7.82)])
R(buff, poly2, [(1.1,1,1.38,6.98), (1.9,1,2.18,6.98), (1.02,3.33,1.46,3.77), (1.82,4.21,2.26,4.65)])
R(buff, pplus, [(-0.3,-0.14,3.58,0.82), (-0.3,4.59,3.58,7.06)])
R(buff, nplus, [(-0.3,0.92,3.58,3.39), (-0.3,7.16,3.58,8.12)])
A(buff, contact, 0.355, 0.23, 0.22, 0.22, 6, 2, 0.47, 7.3)
A(buff, contact, 0.34, 1.34, 0.22, 0.22, 1, 4, 0, 0.47)
A(buff, contact, 0.34, 1.34, 0.22, 0.22, 3, 4, 1.19, 0.47)
A(buff, contact, 0.34, 5.01, 0.22, 0.22, 1, 4, 0, 0.47)
A(buff, contact, 0.34, 5.01, 0.22, 0.22, 3, 4, 1.19, 0.47)
R(buff, contact, [(1.13,3.44,1.35,3.66), (1.93,4.32,2.15,4.54)])
R(buff, metal1, [(-0.5,0.04,3.78,0.64), (1.43,0.34,1.85,3.03), (0.24,1.28,0.66,6.7), (2.62,1.28,3.04,6.7), (1.02,3.33,1.46,3.77), (0.24,4.21,2.26,4.65), (1.82,4.21,2.26,4.65), (1.43,4.95,1.85,7.64), (-0.5,7.34,3.78,7.94)])
buff.add(gdstk.Label('VIN', (1.24,3.55), layer=34, texttype=10))
buff.add(gdstk.Label('VOUT', (2.83,3.99), layer=34, texttype=10))
buff.add(gdstk.Label('VSS', (1.64,0.34), layer=34, texttype=10))
buff.add(gdstk.Label('VDD', (1.64,7.64), layer=34, texttype=10))

osc_ring = lib.new_cell('OSC_RING')
R(osc_ring, nwell, [(44.61,56.46,45.61,67.22), (90.22,56.46,91.22,67.22)])
R(osc_ring, comp, [(9.16,-2.41,35.01,-1.49), (54.76,-2.41,80.61,-1.49), (100.335,-2.41,126.185,-1.49), (9.16,64.5,35.01,65.42), (54.76,64.5,80.61,65.42), (100.335,64.5,126.185,65.42)])
R(osc_ring, pplus, [(9,-2.57,35.17,-1.33), (54.6,-2.57,80.77,-1.33), (100.175,-2.57,126.345,-1.33)])
R(osc_ring, nplus, [(9,64.34,35.17,65.58), (54.6,64.34,80.77,65.58), (100.175,64.34,126.345,65.58)])
A(osc_ring, contact, 9.455, -2.07, 0.22, 0.22, 50, 2, 0.51, 66.91)
A(osc_ring, contact, 55.055, -2.07, 0.22, 0.22, 50, 2, 0.51, 66.91)
A(osc_ring, contact, 100.63, -2.07, 0.22, 0.22, 50, 2, 0.51, 66.91)
R(osc_ring, metal1, [(9,-2.57,35.17,-1.33), (54.6,-2.57,80.77,-1.33), (100.175,-2.57,126.345,-1.33), (8.98,64.34,35.17,65.62), (54.6,64.34,80.77,65.58), (100.175,64.34,126.345,65.58)])
R(osc_ring, via1, [(9.84,-2.09,10.1,-1.83), (10.4,-2.09,10.66,-1.83), (55.45,-2.09,55.71,-1.83), (56.01,-2.09,56.27,-1.83), (101.06,-2.09,101.32,-1.83), (101.62,-2.09,101.88,-1.83), (138.44,40.38,138.7,40.64), (140.04,40.75,140.3,41.01), (9.37,64.82,9.63,65.08), (9.93,64.82,10.19,65.08), (54.98,64.82,55.24,65.08), (55.54,64.82,55.8,65.08), (100.59,64.82,100.85,65.08), (101.15,64.82,101.41,65.08)])
R(osc_ring, metal2, [(9.67,-2.41,10.83,-1.33), (55.28,-2.41,56.44,-1.33), (100.89,-2.41,102.05,-1.35), (132.19,32.01,132.86,40.73), (138.35,40.29,138.79,40.73), (139.95,40.66,140.39,41.1), (9.2,64.34,10.36,65.42), (54.81,64.34,55.97,65.42), (54.81,64.34,55.97,65.42), (100.42,64.34,101.58,65.42)])
A(osc_ring, via2, 9.93, 64.82, 0.26, 0.26, 3, 1, 45.61, 0)
R(osc_ring, via2, [(9.84,-2.09,10.1,-1.83), (10.4,-2.09,10.66,-1.83), (55.45,-2.09,55.71,-1.83), (56.01,-2.09,56.27,-1.83), (101.06,-2.09,101.32,-1.83), (101.62,-2.09,101.88,-1.83), (45.86,29.04,46.12,29.3), (91.47,29.04,91.73,29.3), (100.65,32.12,100.91,32.38), (132.39,32.12,132.65,32.38), (132.39,32.64,132.65,32.9), (100.645,32.65,100.905,32.91), (132.39,40.38,132.65,40.64), (138.44,40.38,138.7,40.64), (140.04,40.75,140.3,41.01)])
A(osc_ring, metal3, 9.67, -2.41, 1.16, 2.795, 3, 1, 45.61, 0)
A(osc_ring, metal3, 9.2, 61.885, 1.16, 3.535, 3, 1, 45.61, 0)
R(osc_ring, metal3, [(44.61,28.81,46.37,29.57), (90.22,28.81,91.98,29.57), (100.35,32.01,132.86,33.02), (132.19,40.29,138.79,40.73), (139.95,40.66,142.67,41.1)])
osc_ring.add(gdstk.Reference(osc_inv, (44.61,363.2), rotation=pi, x_reflection=True))
osc_ring.add(gdstk.Reference(osc_inv, (90.22,363.2), rotation=pi, x_reflection=True))
osc_ring.add(gdstk.Reference(osc_inv, (135.83,363.2), rotation=pi, x_reflection=True))
osc_ring.add(gdstk.Reference(buff, (137.33,36.96)))
osc_ring.add(gdstk.Label('VDD', (137.2,44.62), layer=34, texttype=10))
osc_ring.add(gdstk.Label('Vcont', (135.72,56.61), layer=34, texttype=10))
osc_ring.add(gdstk.Label('Vcont', (90.07,56.68), layer=34, texttype=10))
osc_ring.add(gdstk.Label('Vcont', (44.18,56.61), layer=34, texttype=10))
osc_ring.add(gdstk.Label('N2', (142.46,40.91), layer=42, texttype=10))
osc_ring.add(gdstk.Label('VSS', (55.8,-1.96), layer=42, texttype=10))
osc_ring.add(gdstk.Label('VSS', (101.405,-1.96), layer=42, texttype=10))
osc_ring.add(gdstk.Label('VDD', (9.8,64.92), layer=42, texttype=10))
osc_ring.add(gdstk.Label('VDD', (55.44,64.98), layer=42, texttype=10))
osc_ring.add(gdstk.Label('VDD', (101,64.97), layer=42, texttype=10))
osc_ring.add(gdstk.Label('VIN', (138.57,40.48), layer=42, texttype=10))
osc_ring.add(gdstk.Label('VSS', (10.185,-1.96), layer=42, texttype=10))
osc_ring.add(gdstk.Label('N1', (46.01,29.36), layer=36, texttype=10))

lib.write_gds('OSC_RING.gds')
